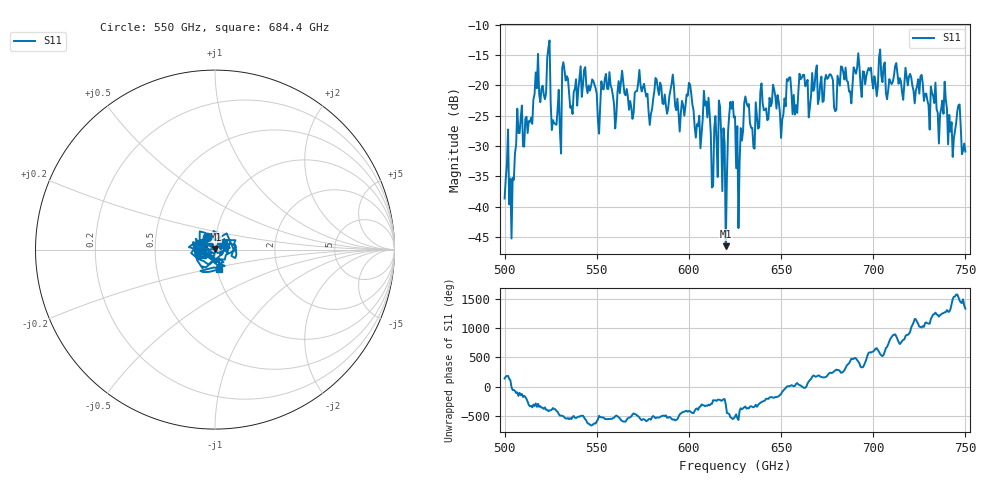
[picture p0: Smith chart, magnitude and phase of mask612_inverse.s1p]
!Created with skrf (http://scikit-rf.org).
# GHz S MA R 50.0
!freq magS11 angS11
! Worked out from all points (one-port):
!   401 points, 500 GHz to 750 GHz, reference 50 ohm
!   lowest |S11| = -46.5 dB at 620 GHz (marker M1), VSWR 1.01, Z = 50.3 + j0.393 ohm
!   |S11| at or under -10 dB: start of sweep to end of sweep
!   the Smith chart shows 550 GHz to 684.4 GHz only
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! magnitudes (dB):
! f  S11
! 500 GHz  -38.7
! 503.8 GHz  -45.3
! 508.1 GHz  -27.9
! 513.8 GHz  -26.0
! 516.9 GHz  -17.8
! 523.8 GHz  -13.8
! 526.9 GHz  -26.2
! 531.2 GHz  -17.1
! 562.5 GHz  -21.3
! 593.8 GHz  -22.2
! 600 GHz  -19.6
! 605 GHz  -26.7
! 609.4 GHz  -22.6
! 612.5 GHz  -36.9
! 615.6 GHz  -35.1
! 620 GHz  -46.5
! 622.5 GHz  -22.7
! 625 GHz  -25.1
! 626.9 GHz  -43.6
! 631.2 GHz  -22.9
! 634.4 GHz  -27.0
! 640 GHz  -22.9
! 656.2 GHz  -24.7
! 687.5 GHz  -21.0
! 718.8 GHz  -20.0
! 743.1 GHz  -31.8
! 746.2 GHz  -23.3
! 750 GHz  -30.9
